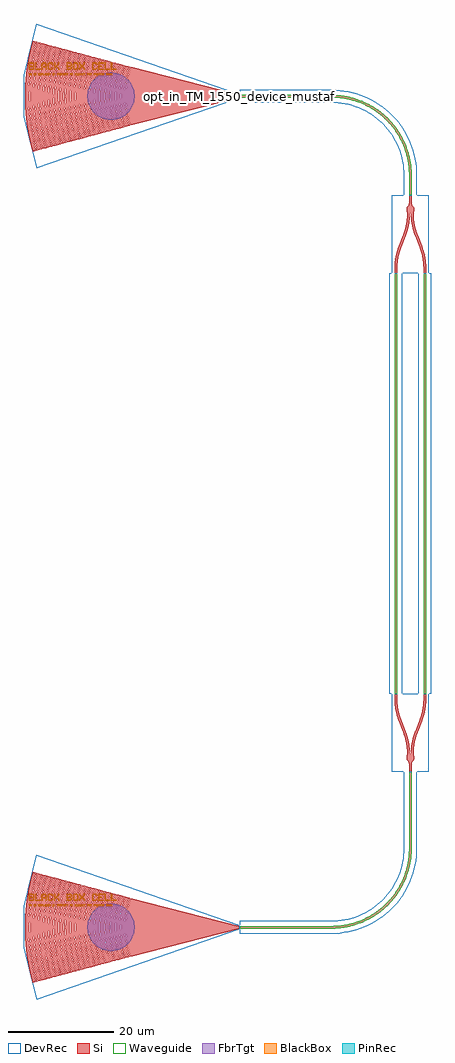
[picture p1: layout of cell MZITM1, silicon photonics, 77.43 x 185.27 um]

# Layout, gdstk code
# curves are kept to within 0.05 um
from math import pi, radians
import gdstk
lib = gdstk.Library(unit=1e-6, precision=1e-09)
def R(c, l, rs):  # rectangles x0, y0, x1, y1
    for r in rs: c.add(gdstk.rectangle(r[:2], r[2:], *l))
def P(c, l, *ps):  # polygons
    for p in ps: c.add(gdstk.Polygon(p, *l))
Si = (1, 0)
PinRec = (1, 10)
Waveguide = (1, 99)
DevRec = (68, 0)
FbrTgt = (81, 0)
BlackBox = (998, 0)

tm1550_subgc_10degree_ox = lib.new_cell('TM1550_SubGC_10degree_oxide')
P(tm1550_subgc_10degree_ox, Si, [(-20.951,-5.614),(-21.312,-4.239),(-21.572,-2.84),(-21.733,-1.367),(-21.781,-0.057),(-21.733,1.367),(-21.572,2.84),(-21.312,4.239),(-20.951,5.614),(-20.815,5.577),(-21.015,4.871),(-21.223,3.991),(-21.371,3.213),(-21.508,2.261),(-21.611,1.076),(-21.641,0.057),(-21.611,-1.076),(-21.508,-2.261),(-21.371,-3.213),(-21.223,-3.991),(-21.015,-4.871),(-20.815,-5.577)],
  [(-21.624,-5.794),(-22.009,-4.318),(-22.255,-2.989),(-22.478,-0.177),(-22.437,1.294),(-22.272,2.873),(-22.009,4.318),(-21.624,5.794),(-21.069,5.645),(-21.621,3.308),(-21.882,0.917),(-21.887,-0.803),(-21.748,-2.459),(-21.481,-4.039),(-21.069,-5.645)],
  [(-21.878,-5.862),(-22.116,-5.004),(-22.279,-4.31),(-22.524,-2.965),(-22.622,-2.198),(-22.691,-1.428),(-22.741,-0.06),(-22.691,1.428),(-22.622,2.198),(-22.524,2.965),(-22.279,4.31),(-22.116,5.004),(-21.878,5.862),(-21.743,5.826),(-21.95,5.088),(-22.154,4.226),(-22.32,3.356),(-22.441,2.537),(-22.563,1.242),(-22.601,0.059),(-22.563,-1.242),(-22.441,-2.537),(-22.32,-3.356),(-22.154,-4.226),(-21.95,-5.088),(-21.743,-5.826)],
  [(-22.552,-6.043),(-23.188,-3.238),(-23.378,-1.594),(-23.438,-0.184),(-23.387,1.471),(-23.233,2.935),(-22.951,4.503),(-22.552,6.043),(-21.996,5.894),(-22.56,3.513),(-22.844,0.898),(-22.849,-0.778),(-22.702,-2.566),(-22.412,-4.275),(-21.996,-5.894)],
  [(-22.805,-6.111),(-23.168,-4.735),(-23.309,-4.068),(-23.457,-3.213),(-23.542,-2.599),(-23.64,-1.612),(-23.686,-0.806),(-23.701,-0.062),(-23.686,0.806),(-23.649,1.488),(-23.493,2.968),(-23.366,3.763),(-23.195,4.614),(-23.006,5.396),(-22.805,6.111),(-22.67,6.074),(-22.885,5.304),(-23.11,4.346),(-23.28,3.438),(-23.395,2.645),(-23.525,1.233),(-23.561,0.062),(-23.525,-1.233),(-23.395,-2.645),(-23.28,-3.438),(-23.11,-4.346),(-22.885,-5.304),(-22.67,-6.074)],
  [(-23.479,-6.291),(-23.893,-4.688),(-24.167,-3.182),(-24.336,-1.659),(-24.398,-0.128),(-24.345,1.532),(-24.167,3.182),(-23.893,4.688),(-23.479,6.291),(-22.923,6.142),(-23.519,3.599),(-23.806,0.873),(-23.806,-0.873),(-23.656,-2.674),(-23.368,-4.394),(-22.923,-6.142)],
  [(-23.732,-6.359),(-24.094,-4.99),(-24.266,-4.17),(-24.418,-3.28),(-24.526,-2.448),(-24.598,-1.677),(-24.64,-0.968),(-24.661,-0.065),(-24.645,0.839),(-24.598,1.677),(-24.526,2.448),(-24.418,3.28),(-24.302,3.98),(-24.094,4.99),(-23.732,6.359),(-23.597,6.323),(-23.852,5.397),(-24.04,4.586),(-24.219,3.641),(-24.357,2.689),(-24.484,1.283),(-24.521,0.064),(-24.484,-1.283),(-24.357,-2.689),(-24.219,-3.641),(-24.04,-4.586),(-23.852,-5.397),(-23.597,-6.323)],
  [(-24.406,-6.54),(-24.821,-4.937),(-25.119,-3.307),(-25.308,-1.526),(-25.358,-0.133),(-25.308,1.526),(-25.119,3.307),(-24.821,4.937),(-24.406,6.54),(-23.851,6.391),(-24.468,3.744),(-24.765,0.908),(-24.765,-0.908),(-24.61,-2.782),(-24.298,-4.635),(-23.851,-6.391)],
  [(-24.66,-6.608),(-25.064,-5.054),(-25.213,-4.332),(-25.379,-3.341),(-25.481,-2.543),(-25.57,-1.542),(-25.621,-0.067),(-25.57,1.542),(-25.481,2.543),(-25.379,3.341),(-25.213,4.332),(-25.064,5.054),(-24.66,6.608),(-24.525,6.571),(-24.772,5.674),(-24.997,4.701),(-25.19,3.652),(-25.303,2.861),(-25.43,1.533),(-25.481,0.067),(-25.43,-1.533),(-25.303,-2.861),(-25.19,-3.652),(-24.997,-4.701),(-24.772,-5.674),(-24.525,-6.571)],
  [(-25.333,-6.788),(-25.702,-5.393),(-26.04,-3.636),(-26.246,-1.858),(-26.318,-0.138),(-26.266,1.583),(-26.09,3.296),(-25.777,5.057),(-25.333,6.788),(-24.778,6.639),(-25.439,3.756),(-25.727,0.876),(-25.727,-0.876),(-25.572,-2.823),(-25.241,-4.815),(-24.778,-6.639)],
  [(-25.587,-6.856),(-25.81,-6.054),(-26.02,-5.176),(-26.172,-4.427),(-26.321,-3.535),(-26.421,-2.777),(-26.508,-1.877),(-26.564,-0.904),(-26.581,-0.07),(-26.569,0.765),(-26.528,1.599),(-26.444,2.57),(-26.341,3.398),(-26.197,4.29),(-26.02,5.176),(-25.81,6.054),(-25.587,6.856),(-25.452,6.82),(-25.708,5.888),(-25.926,4.946),(-26.129,3.858),(-26.257,2.968),(-26.393,1.522),(-26.441,0.069),(-26.393,-1.522),(-26.257,-2.968),(-26.129,-3.858),(-25.926,-4.946),(-25.708,-5.888),(-25.452,-6.82)],
  [(-26.261,-7.037),(-26.704,-5.312),(-27.012,-3.628),(-27.204,-1.926),(-27.278,-0.143),(-27.229,1.57),(-27.052,3.346),(-26.704,5.312),(-26.261,7.037),(-25.705,6.888),(-26.366,4.034),(-26.684,0.978),(-26.678,-1.118),(-26.509,-3.067),(-26.184,-4.995),(-25.705,-6.888)],
  [(-26.514,-7.104),(-26.744,-6.273),(-26.946,-5.433),(-27.157,-4.374),(-27.293,-3.52),(-27.471,-1.873),(-27.521,-1.009),(-27.541,-0.072),(-27.491,1.585),(-27.407,2.591),(-27.293,3.52),(-27.157,4.374),(-26.946,5.433),(-26.744,6.273),(-26.514,7.104),(-26.379,7.068),(-26.626,6.172),(-26.869,5.126),(-27.067,4.069),(-27.202,3.147),(-27.351,1.577),(-27.401,0.072),(-27.36,-1.434),(-27.289,-2.363),(-27.202,-3.147),(-27.067,-4.069),(-26.869,-5.126),(-26.626,-6.172),(-26.379,-7.068)],
  [(-27.188,-7.285),(-27.661,-5.427),(-27.974,-3.683),(-28.167,-1.92),(-28.238,-0.148),(-28.192,1.551),(-27.995,3.537),(-27.661,5.427),(-27.188,7.285),(-26.633,7.136),(-27.315,4.18),(-27.529,2.602),(-27.646,0.941),(-27.637,-1.158),(-27.444,-3.321),(-27.127,-5.175),(-26.633,-7.136)],
  [(-27.442,-7.353),(-27.871,-5.696),(-28.065,-4.747),(-28.213,-3.865),(-28.347,-2.829),(-28.429,-1.938),(-28.483,-0.97),(-28.501,-0.075),(-28.483,0.97),(-28.429,1.938),(-28.355,2.755),(-28.245,3.643),(-28.065,4.747),(-27.903,5.55),(-27.716,6.348),(-27.442,7.353),(-27.306,7.317),(-27.543,6.46),(-27.797,5.378),(-27.992,4.358),(-28.146,3.331),(-28.305,1.706),(-28.361,0.074),(-28.346,-0.891),(-28.305,-1.706),(-28.146,-3.331),(-27.992,-4.358),(-27.797,-5.378),(-27.543,-6.46),(-27.306,-7.317)],
  [(-28.115,-7.533),(-28.587,-5.686),(-28.904,-3.959),(-29.125,-1.986),(-29.198,-0.153),(-29.141,1.757),(-28.937,3.733),(-28.587,5.686),(-28.115,7.533),(-27.56,7.385),(-27.991,5.72),(-28.3,4.103),(-28.608,0.899),(-28.596,-1.199),(-28.416,-3.288),(-28.07,-5.355),(-27.56,-7.385)],
  [(-28.369,-7.601),(-28.633,-6.637),(-28.828,-5.813),(-28.997,-4.983),(-29.164,-3.995),(-29.285,-3.078),(-29.381,-2.08),(-29.433,-1.234),(-29.461,-0.077),(-29.45,0.771),(-29.403,1.773),(-29.334,2.618),(-29.208,3.69),(-29.079,4.528),(-28.877,5.587),(-28.633,6.637),(-28.369,7.601),(-28.234,7.565),(-28.515,6.531),(-28.755,5.485),(-28.953,4.43),(-29.109,3.368),(-29.268,1.688),(-29.321,0.077),(-29.308,-0.844),(-29.268,-1.688),(-29.128,-3.216),(-28.978,-4.279),(-28.786,-5.335),(-28.552,-6.382),(-28.234,-7.565)],
  [(-29.043,-7.782),(-29.545,-5.796),(-29.878,-3.933),(-30.094,-1.893),(-30.158,-0.158),(-30.094,1.893),(-29.9,3.777),(-29.545,5.796),(-29.043,7.782),(-28.487,7.633),(-28.948,5.837),(-29.25,4.241),(-29.565,1.007),(-29.562,-1.084),(-29.37,-3.398),(-29.013,-5.534),(-28.487,-7.633)],
  [(-29.296,-7.85),(-29.568,-6.853),(-29.803,-5.847),(-30.014,-4.754),(-30.138,-3.968),(-30.266,-2.941),(-30.356,-1.91),(-30.402,-1.035),(-30.421,-0.08),(-30.402,1.035),(-30.356,1.91),(-30.266,2.941),(-30.138,3.968),(-30.014,4.754),(-29.803,5.847),(-29.568,6.853),(-29.296,7.85),(-29.161,7.814),(-29.451,6.745),(-29.73,5.51),(-29.928,4.419),(-30.082,3.321),(-30.236,1.585),(-30.281,0.079),(-30.236,-1.585),(-30.082,-3.321),(-29.928,-4.419),(-29.73,-5.51),(-29.451,-6.745),(-29.161,-7.814)],
  [(-29.97,-8.03),(-30.453,-6.14),(-30.818,-4.139),(-31.028,-2.279),(-31.118,-0.163),(-31.052,1.954),(-30.841,3.978),(-30.47,6.061),(-29.97,8.03),(-29.415,7.882),(-29.872,6.105),(-30.248,4.063),(-30.448,2.316),(-30.543,0.16),(-30.478,-1.917),(-30.248,-4.063),(-29.872,-6.105),(-29.415,-7.882)],
  [(-30.223,-8.098),(-30.483,-7.15),(-30.745,-6.032),(-30.934,-5.066),(-31.09,-4.093),(-31.23,-2.952),(-31.314,-1.97),(-31.367,-0.904),(-31.381,-0.082),(-31.367,0.904),(-31.314,1.97),(-31.23,2.952),(-31.09,4.093),(-30.934,5.066),(-30.745,6.032),(-30.483,7.15),(-30.223,8.098),(-30.088,8.062),(-30.367,7.039),(-30.641,5.845),(-30.824,4.882),(-31.006,3.67),(-31.107,2.776),(-31.185,1.798),(-31.241,0.082),(-31.227,-0.9),(-31.185,-1.798),(-31.107,-2.776),(-31.006,-3.67),(-30.824,-4.882),(-30.641,-5.845),(-30.367,-7.039),(-30.088,-8.062)],
  [(-30.897,-8.279),(-31.394,-6.33),(-31.757,-4.35),(-31.992,-2.265),(-32.078,-0.168),(-32.01,2.014),(-31.793,4.101),(-31.394,6.33),(-30.897,8.279),(-30.342,8.13),(-30.865,6.055),(-31.223,4.027),(-31.436,1.978),(-31.503,0.165),(-31.436,-1.978),(-31.223,-4.027),(-30.865,-6.055),(-30.342,-8.13)],
  [(-31.151,-8.347),(-31.375,-7.533),(-31.633,-6.465),(-31.836,-5.47),(-32.017,-4.386),(-32.168,-3.211),(-32.26,-2.199),(-32.321,-1.1),(-32.341,-0.085),(-32.324,1.016),(-32.272,2.03),(-32.177,3.127),(-32.065,4.051),(-31.896,5.137),(-31.687,6.217),(-31.459,7.205),(-31.151,8.347),(-31.016,8.311),(-31.302,7.255),(-31.584,6.025),(-31.8,4.866),(-31.97,3.699),(-32.138,1.937),(-32.184,1.011),(-32.201,0.084),(-32.184,-1.011),(-32.138,-1.937),(-31.97,-3.699),(-31.8,-4.866),(-31.584,-6.025),(-31.302,-7.255),(-31.016,-8.311)],
  [(-31.824,-8.527),(-32.335,-6.52),(-32.721,-4.395),(-32.956,-2.247),(-33.038,-0.173),(-32.974,1.988),(-32.757,4.138),(-32.371,6.351),(-31.824,8.527),(-31.269,8.379),(-31.753,6.489),(-32.151,4.318),(-32.376,2.292),(-32.463,0.17),(-32.4,-1.953),(-32.175,-4.15),(-31.807,-6.24),(-31.269,-8.379)],
  [(-32.078,-8.595),(-32.331,-7.672),(-32.592,-6.572),(-32.782,-5.633),(-32.981,-4.43),(-33.123,-3.306),(-33.218,-2.265),(-33.277,-1.22),(-33.301,-0.087),(-33.277,1.22),(-33.218,2.265),(-33.123,3.306),(-32.981,4.43),(-32.782,5.633),(-32.592,6.572),(-32.331,7.672),(-32.078,8.595),(-31.943,8.559),(-32.279,7.304),(-32.527,6.205),(-32.749,5.011),(-32.934,3.723),(-33.043,2.688),(-33.107,1.822),(-33.161,0.087),(-33.149,-0.868),(-33.107,-1.822),(-33.043,-2.688),(-32.934,-3.723),(-32.749,-5.011),(-32.527,-6.205),(-32.279,-7.304),(-31.943,-8.559)],
  [(-32.752,-8.776),(-33.295,-6.623),(-33.685,-4.435),(-33.907,-2.401),(-33.998,-0.178),(-33.92,2.223),(-33.685,4.435),(-33.295,6.623),(-32.752,8.776),(-32.196,8.627),(-32.731,6.511),(-33.115,4.36),(-33.34,2.273),(-33.423,0.175),(-33.358,-2.011),(-33.115,-4.36),(-32.731,-6.511),(-32.196,-8.627)],
  [(-33.005,-8.844),(-33.309,-7.721),(-33.571,-6.586),(-33.776,-5.531),(-33.945,-4.469),(-34.088,-3.312),(-34.182,-2.24),(-34.243,-1.076),(-34.261,-0.09),(-34.243,1.076),(-34.182,2.24),(-34.088,3.312),(-33.945,4.469),(-33.776,5.531),(-33.571,6.586),(-33.309,7.721),(-33.005,8.844),(-32.87,8.808),(-33.194,7.602),(-33.452,6.472),(-33.698,5.156),(-33.866,4.008),(-33.984,2.943),(-34.06,1.964),(-34.106,0.982),(-34.121,0.089),(-34.106,-0.982),(-34.06,-1.964),(-33.984,-2.943),(-33.866,-4.008),(-33.698,-5.156),(-33.452,-6.472),(-33.194,-7.602),(-32.87,-8.808)],
  [(-33.679,-9.024),(-34.217,-6.899),(-34.624,-4.651),(-34.878,-2.286),(-34.958,-0.183),(-34.896,2.012),(-34.662,4.379),(-34.255,6.721),(-33.679,9.024),(-33.124,8.875),(-33.653,6.786),(-34.054,4.574),(-34.291,2.428),(-34.383,0.18),(-34.322,-1.979),(-34.079,-4.396),(-33.691,-6.61),(-33.124,-8.875)],
  [(-33.933,-9.092),(-34.199,-8.116),(-34.494,-6.861),(-34.691,-5.867),(-34.884,-4.685),(-35.053,-3.313),(-35.14,-2.303),(-35.199,-1.198),(-35.221,-0.092),(-35.199,1.198),(-35.14,2.303),(-35.053,3.313),(-34.91,4.503),(-34.755,5.505),(-34.494,6.861),(-34.199,8.116),(-33.933,9.092),(-33.797,9.056),(-34.13,7.817),(-34.413,6.565),(-34.647,5.302),(-34.831,4.03),(-34.957,2.843),(-35.024,1.927),(-35.081,0.092),(-35.068,-0.918),(-35.024,-1.927),(-34.957,-2.843),(-34.831,-4.03),(-34.647,-5.302),(-34.413,-6.565),(-34.13,-7.817),(-33.797,-9.056)],
  [(-34.606,-9.273),(-35.178,-6.997),(-35.575,-4.778),(-35.836,-2.349),(-35.918,-0.188),(-35.86,1.973),(-35.627,4.406),(-35.178,6.997),(-34.606,9.273),(-34.051,9.124),(-34.614,6.885),(-34.992,4.793),(-35.234,2.68),(-35.343,0.185),(-35.286,-1.942),(-35.044,-4.427),(-34.614,-6.885),(-34.051,-9.124)],
  [(-34.86,-9.341),(-35.202,-8.062),(-35.455,-6.956),(-35.687,-5.748),(-35.849,-4.72),(-35.999,-3.498),(-36.098,-2.366),(-36.162,-1.136),(-36.181,-0.095),(-36.162,1.136),(-36.098,2.366),(-35.999,3.498),(-35.849,4.72),(-35.687,5.748),(-35.455,6.956),(-35.202,8.062),(-34.86,9.341),(-34.725,9.304),(-35.043,8.122),(-35.337,6.837),(-35.596,5.447),(-35.773,4.234),(-35.888,3.203),(-35.971,2.169),(-36.022,1.132),(-36.041,0.094),(-36.028,-0.943),(-35.977,-2.074),(-35.888,-3.203),(-35.773,-4.234),(-35.596,-5.447),(-35.337,-6.837),(-35.043,-8.122),(-34.725,-9.304)],
  [(-35.534,-9.521),(-36.099,-7.279),(-36.513,-5.002),(-36.78,-2.604),(-36.878,-0.193),(-36.807,2.219),(-36.567,4.619),(-36.159,6.996),(-35.534,9.521),(-34.978,9.372),(-35.575,6.98),(-35.957,4.83),(-36.199,2.658),(-36.303,0.19),(-36.22,-2.374),(-35.957,-4.83),(-35.575,-6.98),(-34.978,-9.372)],
  [(-35.787,-9.589),(-36.091,-8.465),(-36.377,-7.236),(-36.584,-6.188),(-36.787,-4.941),(-36.923,-3.881),(-37.049,-2.526),(-37.118,-1.264),(-37.141,-0.097),(-37.118,1.264),(-37.056,2.429),(-36.944,3.687),(-36.814,4.749),(-36.635,5.901),(-36.377,7.236),(-36.091,8.465),(-35.787,9.589),(-35.652,9.553),(-35.978,8.339),(-36.299,6.924),(-36.545,5.592),(-36.714,4.443),(-36.825,3.481),(-36.923,2.323),(-36.978,1.259),(-37.001,0.097),(-36.978,-1.259),(-36.923,-2.323),(-36.825,-3.481),(-36.714,-4.443),(-36.545,-5.592),(-36.299,-6.924),(-35.978,-8.339),(-35.652,-9.553)],
  [(-36.461,-9.77),(-37.061,-7.372),(-37.464,-5.132),(-37.73,-2.771),(-37.838,-0.198),(-37.765,2.277),(-37.506,4.838),(-37.061,7.372),(-36.461,9.77),(-35.906,9.621),(-36.497,7.26),(-36.922,4.861),(-37.164,2.631),(-37.263,0.195),(-37.185,-2.339),(-36.922,-4.861),(-36.497,-7.26),(-35.906,-9.621)],
  [(-36.714,-9.838),(-37.001,-8.781),(-37.276,-7.618),(-37.548,-6.25),(-37.724,-5.168),(-37.91,-3.684),(-38.014,-2.492),(-38.081,-1.197),(-38.101,-0.1),(-38.081,1.197),(-38.014,2.492),(-37.91,3.684),(-37.766,4.871),(-37.548,6.25),(-37.339,7.326),(-37.001,8.781),(-36.714,9.838),(-36.579,9.801),(-36.937,8.46),(-37.222,7.201),(-37.461,5.933),(-37.667,4.558),(-37.8,3.374),(-37.881,2.383),(-37.941,1.192),(-37.961,0.099),(-37.95,-0.894),(-37.911,-1.887),(-37.836,-2.978),(-37.692,-4.361),(-37.494,-5.737),(-37.262,-7.007),(-36.937,-8.46),(-36.579,-9.801)],
  [(-37.388,-10.018),(-37.981,-7.658),(-38.444,-5.061),(-38.71,-2.537),(-38.798,-0.203),(-38.71,2.537),(-38.458,4.961),(-38.044,7.361),(-37.388,10.018),(-36.833,9.869),(-37.459,7.349),(-37.874,4.986),(-38.129,2.599),(-38.223,0.2),(-38.143,-2.4),(-37.874,-4.986),(-37.459,-7.349),(-36.833,-9.869)],
  [(-37.642,-10.086),(-37.985,-8.804),(-38.26,-7.61),(-38.513,-6.307),(-38.704,-5.095),(-38.876,-3.675),(-38.957,-2.758),(-39.037,-1.329),(-39.061,-0.102),(-39.037,1.329),(-38.957,2.758),(-38.876,3.675),(-38.704,5.095),(-38.513,6.307),(-38.26,7.61),(-37.985,8.804),(-37.642,10.086),(-37.507,10.05),(-37.873,8.674),(-38.185,7.284),(-38.426,5.983),(-38.633,4.572),(-38.766,3.357),(-38.839,2.444),(-38.897,1.324),(-38.921,0.102),(-38.904,-1.121),(-38.852,-2.24),(-38.766,-3.357),(-38.633,-4.572),(-38.426,-5.983),(-38.185,-7.284),(-37.873,-8.674),(-37.507,-10.05)],
  [(-38.316,-10.267),(-38.944,-7.746),(-39.381,-5.29),(-39.66,-2.704),(-39.758,-0.208),(-39.675,2.496),(-39.41,5.083),(-38.987,7.543),(-38.316,10.267),(-37.76,10.118),(-38.337,7.835),(-38.811,5.213),(-39.079,2.767),(-39.183,0.205),(-39.114,-2.255),(-38.867,-4.807),(-38.422,-7.434),(-37.76,-10.118)],
  [(-38.569,-10.335),(-38.895,-9.123),(-39.223,-7.695),(-39.442,-6.565),(-39.656,-5.221),(-39.821,-3.869),(-39.937,-2.513),(-40,-1.257),(-40.021,-0.105),(-40,1.257),(-39.937,2.513),(-39.821,3.869),(-39.656,5.221),(-39.442,6.565),(-39.223,7.695),(-38.895,9.123),(-38.569,10.335),(-38.434,10.298),(-38.733,9.192),(-39.086,7.668),(-39.34,6.336),(-39.573,4.789),(-39.692,3.752),(-39.804,2.4),(-39.86,1.253),(-39.881,0.104),(-39.86,-1.253),(-39.804,-2.4),(-39.692,-3.752),(-39.573,-4.789),(-39.34,-6.336),(-39.086,-7.668),(-38.733,-9.192),(-38.434,-10.298)],
  [(-39.243,-10.515),(-39.841,-8.142),(-40.317,-5.523),(-40.602,-2.982),(-40.718,-0.213),(-40.64,2.45),(-40.362,5.206),(-39.907,7.83),(-39.243,10.515),(-38.687,10.366),(-39.365,7.616),(-39.792,5.133),(-40.052,2.625),(-40.143,0.21),(-40.066,-2.415),(-39.792,-5.133),(-39.365,-7.616),(-38.687,-10.366)],
  [(-20.697,-5.546),(-21.295,-2.917),(-21.518,-0.169),(-21.471,1.351),(-21.32,2.75),(-21.067,4.133),(-20.697,5.546),(0,0.25),(0,-0.25)])
tm1550_subgc_10degree_ox.add(gdstk.Label('Ref: Yun Wang, Optics Express, 08/2014', (-39,0), layer=10, texttype=0))
tm1550_subgc_10degree_ox.add(gdstk.Label('http://dx.doi.org/10.1364/OE.22.020652', (-39,-2), layer=10, texttype=0))
tm1550_subgc_10degree_ox.add(gdstk.Label('TM 1550 +10 deg', (-39,2), layer=10, texttype=0))

text_2 = lib.new_cell('TEXT$2')
P(text_2, BlackBox, [(0,0),(0,1.4),(0.8,1.4),(1,1.2),(0.2,1.2),(0.2,0.8),(0.7,0.8),(0.8,0.9),(0.8,1.1),(0.7,1.2),(1,1.2),(1,0.8),(0.9,0.7),(1,0.6),(0.2,0.6),(0.2,0.2),(0.7,0.2),(0.8,0.3),(0.8,0.5),(0.7,0.6),(1,0.6),(1,0.2),(0.8,0)],
  [(1.2,0),(1.2,1.4),(1.4,1.4),(1.4,0.2),(2.2,0.2),(2.2,0)],
  [(2.4,0),(2.4,1.1),(2.7,1.4),(3.1,1.4),(3.3,1.2),(2.8,1.2),(2.6,1),(2.6,0.7),(3.2,0.7),(3.2,1),(3,1.2),(3.3,1.2),(3.4,1.1),(3.4,0),(3.2,0),(3.2,0.5),(2.6,0.5),(2.6,0)],
  [(3.8,0),(3.6,0.2),(3.6,1.2),(3.8,1.4),(4.4,1.4),(4.6,1.2),(4.6,1),(4.4,1),(4.4,1.1),(4.3,1.2),(3.9,1.2),(3.8,1.1),(3.8,0.3),(3.9,0.2),(4.3,0.2),(4.4,0.3),(4.4,0.4),(4.6,0.4),(4.6,0.2),(4.4,0)],
  [(4.8,0),(4.8,1.4),(5,1.4),(5,0.8),(5.2,0.8),(5.6,1.2),(5.6,1.4),(5.8,1.4),(5.8,1.1),(5.4,0.7),(5.8,0.3),(5.8,0),(5.6,0),(5.6,0.2),(5.2,0.6),(5,0.6),(5,0)],
  [(7.2,0),(7.2,1.4),(8,1.4),(8.2,1.2),(7.4,1.2),(7.4,0.8),(7.9,0.8),(8,0.9),(8,1.1),(7.9,1.2),(8.2,1.2),(8.2,0.8),(8.1,0.7),(8.2,0.6),(7.4,0.6),(7.4,0.2),(7.9,0.2),(8,0.3),(8,0.5),(7.9,0.6),(8.2,0.6),(8.2,0.2),(8,0)],
  [(8.6,0),(8.4,0.2),(8.4,1.2),(8.6,1.4),(9.2,1.4),(9.4,1.2),(9.4,0.7),(9.2,0.7),(9.2,1.1),(9.1,1.2),(8.7,1.2),(8.6,1.1),(8.6,0.3),(8.7,0.2),(9.1,0.2),(9.2,0.3),(9.2,0.7),(9.4,0.7),(9.4,0.2),(9.2,0)],
  [(9.6,0),(9.6,0.3),(9.9,0.6),(9.9,0.8),(9.6,1.1),(9.6,1.4),(9.8,1.4),(9.8,1.2),(10.1,0.9),(10.4,1.2),(10.4,1.4),(10.6,1.4),(10.6,1.1),(10.3,0.8),(10.3,0.6),(10.6,0.3),(10.6,0),(10.4,0),(10.4,0.2),(10.1,0.5),(9.8,0.2),(9.8,0)],
  [(12.2,0),(12,0.2),(12,1.2),(12.2,1.4),(12.8,1.4),(13,1.2),(13,1),(12.8,1),(12.8,1.1),(12.7,1.2),(12.3,1.2),(12.2,1.1),(12.2,0.3),(12.3,0.2),(12.7,0.2),(12.8,0.3),(12.8,0.4),(13,0.4),(13,0.2),(12.8,0)],
  [(13.2,0),(13.2,1.4),(14.2,1.4),(14.2,1.2),(13.4,1.2),(13.4,0.8),(13.8,0.8),(13.8,0.6),(13.4,0.6),(13.4,0.2),(14.2,0.2),(14.2,0)],
  [(14.4,0),(14.4,1.4),(14.6,1.4),(14.6,0.2),(15.4,0.2),(15.4,0)],
  [(15.6,0),(15.6,1.4),(15.8,1.4),(15.8,0.2),(16.6,0.2),(16.6,0)])

text_3 = lib.new_cell('TEXT$3')
P(text_3, BlackBox, [(0.1,0),(0.1,0.3),(0,0.3),(0,0.35),(0.25,0.35),(0.25,0.3),(0.15,0.3),(0.15,0)],
  [(0.35,0),(0.3,0.05),(0.3,0.3),(0.35,0.35),(0.5,0.35),(0.55,0.3),(0.55,0.175),(0.5,0.175),(0.5,0.275),(0.475,0.3),(0.375,0.3),(0.35,0.275),(0.35,0.075),(0.375,0.05),(0.475,0.05),(0.5,0.075),(0.5,0.175),(0.55,0.175),(0.55,0.05),(0.5,0)],
  [(0.9,0),(0.9,0.35),(1.1,0.35),(1.15,0.3),(0.95,0.3),(0.95,0.2),(1.075,0.2),(1.1,0.225),(1.1,0.275),(1.075,0.3),(1.15,0.3),(1.15,0.2),(1.125,0.175),(1.15,0.15),(0.95,0.15),(0.95,0.05),(1.075,0.05),(1.1,0.075),(1.1,0.125),(1.075,0.15),(1.15,0.15),(1.15,0.05),(1.1,0)],
  [(1.2,0),(1.2,0.35),(1.45,0.35),(1.45,0.3),(1.25,0.3),(1.25,0.2),(1.35,0.2),(1.35,0.15),(1.25,0.15),(1.25,0.05),(1.45,0.05),(1.45,0)],
  [(1.8,0),(1.8,0.35),(2,0.35),(2.05,0.3),(1.85,0.3),(1.85,0.2),(1.975,0.2),(2,0.225),(2,0.275),(1.975,0.3),(2.05,0.3),(2.05,0.2),(2,0.15),(2,0.125),(2.05,0.075),(2.05,0),(2,0),(2,0.05),(1.9,0.15),(1.85,0.15),(1.85,0)],
  [(2.1,0),(2.1,0.35),(2.35,0.35),(2.35,0.3),(2.15,0.3),(2.15,0.2),(2.25,0.2),(2.25,0.15),(2.15,0.15),(2.15,0.05),(2.35,0.05),(2.35,0)],
  [(2.4,0),(2.4,0.35),(2.6,0.35),(2.65,0.3),(2.65,0.2),(2.6,0.15),(2.45,0.15),(2.45,0.2),(2.575,0.2),(2.6,0.225),(2.6,0.275),(2.575,0.3),(2.45,0.3),(2.45,0)],
  [(2.7,0),(2.7,0.35),(2.75,0.35),(2.75,0.05),(2.95,0.05),(2.95,0)],
  [(3,0),(3,0.275),(3.075,0.35),(3.175,0.35),(3.225,0.3),(3.1,0.3),(3.05,0.25),(3.05,0.175),(3.2,0.175),(3.2,0.25),(3.15,0.3),(3.225,0.3),(3.25,0.275),(3.25,0),(3.2,0),(3.2,0.125),(3.05,0.125),(3.05,0)],
  [(3.35,0),(3.3,0.05),(3.3,0.3),(3.35,0.35),(3.5,0.35),(3.55,0.3),(3.55,0.25),(3.5,0.25),(3.5,0.275),(3.475,0.3),(3.375,0.3),(3.35,0.275),(3.35,0.075),(3.375,0.05),(3.475,0.05),(3.5,0.075),(3.5,0.1),(3.55,0.1),(3.55,0.05),(3.5,0)],
  [(3.6,0),(3.6,0.35),(3.85,0.35),(3.85,0.3),(3.65,0.3),(3.65,0.2),(3.75,0.2),(3.75,0.15),(3.65,0.15),(3.65,0.05),(3.85,0.05),(3.85,0)],
  [(3.9,0),(3.9,0.35),(4.075,0.35),(4.125,0.3),(3.95,0.3),(3.95,0.05),(4.05,0.05),(4.1,0.1),(4.1,0.25),(4.05,0.3),(4.125,0.3),(4.15,0.275),(4.15,0.075),(4.075,0)],
  [(4.5,0),(4.5,0.35),(4.7,0.35),(4.75,0.3),(4.55,0.3),(4.55,0.2),(4.675,0.2),(4.7,0.225),(4.7,0.275),(4.675,0.3),(4.75,0.3),(4.75,0.2),(4.725,0.175),(4.75,0.15),(4.55,0.15),(4.55,0.05),(4.675,0.05),(4.7,0.075),(4.7,0.125),(4.675,0.15),(4.75,0.15),(4.75,0.05),(4.7,0)],
  [(4.9,0),(4.9,0.175),(4.8,0.275),(4.8,0.35),(4.85,0.35),(4.85,0.3),(4.925,0.225),(5,0.3),(5,0.35),(5.05,0.35),(5.05,0.275),(4.95,0.175),(4.95,0)],
  [(5.4,0),(5.4,0.35),(5.65,0.35),(5.65,0.3),(5.45,0.3),(5.45,0.2),(5.55,0.2),(5.55,0.15),(5.45,0.15),(5.45,0)],
  [(5.75,0),(5.7,0.05),(5.7,0.3),(5.75,0.35),(5.9,0.35),(5.95,0.3),(5.95,0.175),(5.9,0.175),(5.9,0.275),(5.875,0.3),(5.775,0.3),(5.75,0.275),(5.75,0.075),(5.775,0.05),(5.875,0.05),(5.9,0.075),(5.9,0.175),(5.95,0.175),(5.95,0.05),(5.9,0)],
  [(6.05,0),(6,0.05),(6,0.35),(6.05,0.35),(6.05,0.075),(6.075,0.05),(6.175,0.05),(6.2,0.075),(6.2,0.35),(6.25,0.35),(6.25,0.05),(6.2,0)],
  [(6.3,0),(6.3,0.35),(6.35,0.35),(6.475,0.225),(6.5,0.225),(6.5,0.35),(6.55,0.35),(6.55,0),(6.5,0),(6.5,0.125),(6.375,0.25),(6.35,0.25),(6.35,0)],
  [(6.6,0),(6.6,0.35),(6.775,0.35),(6.825,0.3),(6.65,0.3),(6.65,0.05),(6.75,0.05),(6.8,0.1),(6.8,0.25),(6.75,0.3),(6.825,0.3),(6.85,0.275),(6.85,0.075),(6.775,0)],
  [(6.9,0),(6.9,0.35),(7.1,0.35),(7.15,0.3),(6.95,0.3),(6.95,0.2),(7.075,0.2),(7.1,0.225),(7.1,0.275),(7.075,0.3),(7.15,0.3),(7.15,0.2),(7.1,0.15),(7.1,0.125),(7.15,0.075),(7.15,0),(7.1,0),(7.1,0.05),(7,0.15),(6.95,0.15),(6.95,0)],
  [(7.3,0),(7.3,0.175),(7.2,0.275),(7.2,0.35),(7.25,0.35),(7.25,0.3),(7.325,0.225),(7.4,0.3),(7.4,0.35),(7.45,0.35),(7.45,0.275),(7.35,0.175),(7.35,0)],
  [(7.9,0),(7.9,0.3),(7.8,0.3),(7.8,0.35),(8.05,0.35),(8.05,0.3),(7.95,0.3),(7.95,0)],
  [(8.15,0),(8.1,0.05),(8.1,0.3),(8.15,0.35),(8.3,0.35),(8.35,0.3),(8.35,0.175),(8.3,0.175),(8.3,0.275),(8.275,0.3),(8.175,0.3),(8.15,0.275),(8.15,0.075),(8.175,0.05),(8.275,0.05),(8.3,0.075),(8.3,0.175),(8.35,0.175),(8.35,0.05),(8.3,0)],
  [(8.7,0),(8.7,0.275),(8.775,0.35),(8.875,0.35),(8.925,0.3),(8.8,0.3),(8.75,0.25),(8.75,0.175),(8.9,0.175),(8.9,0.25),(8.85,0.3),(8.925,0.3),(8.95,0.275),(8.95,0),(8.9,0),(8.9,0.125),(8.75,0.125),(8.75,0)],
  [(9.05,0),(9,0.05),(9,0.3),(9.05,0.35),(9.2,0.35),(9.25,0.3),(9.25,0.25),(9.2,0.25),(9.2,0.275),(9.175,0.3),(9.075,0.3),(9.05,0.275),(9.05,0.075),(9.075,0.05),(9.175,0.05),(9.2,0.075),(9.2,0.1),(9.25,0.1),(9.25,0.05),(9.2,0)],
  [(9.35,0),(9.3,0.05),(9.3,0.3),(9.35,0.35),(9.5,0.35),(9.55,0.3),(9.55,0.25),(9.5,0.25),(9.5,0.275),(9.475,0.3),(9.375,0.3),(9.35,0.275),(9.35,0.075),(9.375,0.05),(9.475,0.05),(9.5,0.075),(9.5,0.1),(9.55,0.1),(9.55,0.05),(9.5,0)],
  [(9.65,0),(9.6,0.05),(9.6,0.3),(9.65,0.35),(9.8,0.35),(9.85,0.3),(9.85,0.175),(9.8,0.175),(9.8,0.275),(9.775,0.3),(9.675,0.3),(9.65,0.275),(9.65,0.075),(9.675,0.05),(9.775,0.05),(9.8,0.075),(9.8,0.175),(9.85,0.175),(9.85,0.05),(9.8,0)],
  [(9.95,0),(9.9,0.05),(9.9,0.35),(9.95,0.35),(9.95,0.075),(9.975,0.05),(10.075,0.05),(10.1,0.075),(10.1,0.35),(10.15,0.35),(10.15,0.05),(10.1,0)],
  [(10.2,0),(10.2,0.35),(10.25,0.35),(10.375,0.225),(10.4,0.225),(10.4,0.35),(10.45,0.35),(10.45,0),(10.4,0),(10.4,0.125),(10.275,0.25),(10.25,0.25),(10.25,0)],
  [(10.6,0),(10.6,0.3),(10.5,0.3),(10.5,0.35),(10.75,0.35),(10.75,0.3),(10.65,0.3),(10.65,0)],
  [(11.1,0),(11.1,0.35),(11.35,0.35),(11.35,0.3),(11.15,0.3),(11.15,0.2),(11.25,0.2),(11.25,0.15),(11.15,0.15),(11.15,0)],
  [(11.45,0),(11.4,0.05),(11.4,0.3),(11.45,0.35),(11.6,0.35),(11.65,0.3),(11.65,0.175),(11.6,0.175),(11.6,0.275),(11.575,0.3),(11.475,0.3),(11.45,0.275),(11.45,0.075),(11.475,0.05),(11.575,0.05),(11.6,0.075),(11.6,0.175),(11.65,0.175),(11.65,0.05),(11.6,0)],
  [(11.7,0),(11.7,0.35),(11.9,0.35),(11.95,0.3),(11.75,0.3),(11.75,0.2),(11.875,0.2),(11.9,0.225),(11.9,0.275),(11.875,0.3),(11.95,0.3),(11.95,0.2),(11.9,0.15),(11.9,0.125),(11.95,0.075),(11.95,0),(11.9,0),(11.9,0.05),(11.8,0.15),(11.75,0.15),(11.75,0)],
  [(12.3,0),(12.3,0.35),(12.5,0.35),(12.55,0.3),(12.55,0.2),(12.5,0.15),(12.35,0.15),(12.35,0.2),(12.475,0.2),(12.5,0.225),(12.5,0.275),(12.475,0.3),(12.35,0.3),(12.35,0)],
  [(12.6,0),(12.6,0.35),(12.8,0.35),(12.85,0.3),(12.65,0.3),(12.65,0.2),(12.775,0.2),(12.8,0.225),(12.8,0.275),(12.775,0.3),(12.85,0.3),(12.85,0.2),(12.8,0.15),(12.8,0.125),(12.85,0.075),(12.85,0),(12.8,0),(12.8,0.05),(12.7,0.15),(12.65,0.15),(12.65,0)],
  [(12.95,0),(12.9,0.05),(12.9,0.3),(12.95,0.35),(13.1,0.35),(13.15,0.3),(13.15,0.175),(13.1,0.175),(13.1,0.275),(13.075,0.3),(12.975,0.3),(12.95,0.275),(12.95,0.075),(12.975,0.05),(13.075,0.05),(13.1,0.075),(13.1,0.175),(13.15,0.175),(13.15,0.05),(13.1,0)],
  [(13.25,0),(13.2,0.05),(13.2,0.3),(13.25,0.35),(13.4,0.35),(13.45,0.3),(13.45,0.25),(13.4,0.25),(13.4,0.275),(13.375,0.3),(13.275,0.3),(13.25,0.275),(13.25,0.075),(13.275,0.05),(13.375,0.05),(13.4,0.075),(13.4,0.1),(13.45,0.1),(13.45,0.05),(13.4,0)],
  [(13.5,0),(13.5,0.35),(13.75,0.35),(13.75,0.3),(13.55,0.3),(13.55,0.2),(13.65,0.2),(13.65,0.15),(13.55,0.15),(13.55,0.05),(13.75,0.05),(13.75,0)],
  [(13.85,0),(13.8,0.05),(13.8,0.1),(13.85,0.1),(13.85,0.075),(13.875,0.05),(13.975,0.05),(14,0.075),(14,0.125),(13.975,0.15),(13.85,0.15),(13.8,0.2),(13.8,0.3),(13.85,0.35),(14,0.35),(14.05,0.3),(14.05,0.25),(14,0.25),(14,0.275),(13.975,0.3),(13.875,0.3),(13.85,0.275),(13.85,0.225),(13.875,0.2),(14,0.2),(14.05,0.15),(14.05,0.05),(14,0)],
  [(14.15,0),(14.1,0.05),(14.1,0.1),(14.15,0.1),(14.15,0.075),(14.175,0.05),(14.275,0.05),(14.3,0.075),(14.3,0.125),(14.275,0.15),(14.15,0.15),(14.1,0.2),(14.1,0.3),(14.15,0.35),(14.3,0.35),(14.35,0.3),(14.35,0.25),(14.3,0.25),(14.3,0.275),(14.275,0.3),(14.175,0.3),(14.15,0.275),(14.15,0.225),(14.175,0.2),(14.3,0.2),(14.35,0.15),(14.35,0.05),(14.3,0)],
  [(14.7,0),(14.7,0.35),(14.9,0.35),(14.95,0.3),(14.75,0.3),(14.75,0.2),(14.875,0.2),(14.9,0.225),(14.9,0.275),(14.875,0.3),(14.95,0.3),(14.95,0.2),(14.925,0.175),(14.95,0.15),(14.75,0.15),(14.75,0.05),(14.875,0.05),(14.9,0.075),(14.9,0.125),(14.875,0.15),(14.95,0.15),(14.95,0.05),(14.9,0)],
  [(15.075,0),(15.075,0.05),(15.1,0.05),(15.1,0.3),(15.075,0.3),(15.075,0.35),(15.175,0.35),(15.175,0.3),(15.15,0.3),(15.15,0.05),(15.175,0.05),(15.175,0)],
  [(15.3,0),(15.3,0.275),(15.375,0.35),(15.475,0.35),(15.525,0.3),(15.4,0.3),(15.35,0.25),(15.35,0.175),(15.5,0.175),(15.5,0.25),(15.45,0.3),(15.525,0.3),(15.55,0.275),(15.55,0),(15.5,0),(15.5,0.125),(15.35,0.125),(15.35,0)],
  [(15.65,0),(15.6,0.05),(15.6,0.1),(15.65,0.1),(15.65,0.075),(15.675,0.05),(15.775,0.05),(15.8,0.075),(15.8,0.125),(15.775,0.15),(15.65,0.15),(15.6,0.2),(15.6,0.3),(15.65,0.35),(15.8,0.35),(15.85,0.3),(15.85,0.25),(15.8,0.25),(15.8,0.275),(15.775,0.3),(15.675,0.3),(15.65,0.275),(15.65,0.225),(15.675,0.2),(15.8,0.2),(15.85,0.15),(15.85,0.05),(15.8,0)])

ebeam_gc_tm1550 = lib.new_cell('ebeam_gc_tm1550')
R(ebeam_gc_tm1550, Si, [(-0.001,-0.001,0.001,0.001)])
P(ebeam_gc_tm1550, DevRec, [(-38.5,-13.7),(-41,-4),(-41,4),(-38.6,13.8),(0,0.4),(0,-0.4)])
P(ebeam_gc_tm1550, FbrTgt, [(-24.621,-4.5),(-25.495,-4.37),(-26.326,-4.073),(-27.084,-3.619),(-27.738,-3.026),(-28.264,-2.316),(-28.642,-1.518),(-28.857,-0.661),(-28.9,0.221),(-28.77,1.095),(-28.473,1.926),(-28.019,2.684),(-27.426,3.338),(-26.716,3.864),(-25.918,4.242),(-25.061,4.457),(-24.179,4.5),(-23.305,4.37),(-22.474,4.073),(-21.716,3.619),(-21.062,3.026),(-20.536,2.316),(-20.158,1.518),(-19.943,0.661),(-19.9,-0.221),(-20.03,-1.095),(-20.327,-1.926),(-20.781,-2.684),(-21.374,-3.338),(-22.084,-3.864),(-22.882,-4.242),(-23.739,-4.457)])
ebeam_gc_tm1550.add(gdstk.FlexPath([(-0.05,0),(0.05,0)], 0.5, ends="flush", simple_path=True, layer=1, datatype=10))  # PinRec
ebeam_gc_tm1550.add(gdstk.Reference(tm1550_subgc_10degree_ox, (0,0)))
ebeam_gc_tm1550.add(gdstk.Reference(text_2, (-40,5)))
ebeam_gc_tm1550.add(gdstk.Reference(text_3, (-40,4)))
ebeam_gc_tm1550.add(gdstk.Label('opt1', (0,0), layer=1, texttype=10))
ebeam_gc_tm1550.add(gdstk.Label('Component=ebeam_gc_tm1550', (-35,-5), layer=68, texttype=0))
ebeam_gc_tm1550.add(gdstk.Label('Lumerical_INTERCONNECT_library=Design kits/ebeam', (-38,-6), layer=68, texttype=0))

ebeam_y_1550 = lib.new_cell('ebeam_y_1550')
R(ebeam_y_1550, Si, [(6.5,-3,7.4,-2.5), (-7.4,-0.25,-6,0.25), (6.5,2.5,7.4,3)])
P(ebeam_y_1550, Si, [(6.458,-3),(6.237,-2.997),(6.237,-2.497),(6.5,-2.5),(6.5,-3)],
  [(5.033,-2.908),(3.59,-2.634),(2.265,-2.21),(2.445,-1.744),(3.731,-2.154),(5.033,-2.404)],
  [(6.233,-2.997),(5.033,-2.908),(5.033,-2.404),(6.237,-2.497)],
  [(2.265,-2.21),(0.055,-1.356),(0.235,-0.89),(2.445,-1.744)],
  [(-0.762,-1.076),(-2.334,-0.724),(-4,-0.6),(-4,-0.1),(-2.381,-0.212),(-0.762,-0.555)],
  [(0.055,-1.356),(-0.762,-1.076),(-0.762,-0.555),(0.235,-0.89)],
  [(6.237,2.497),(6.237,2.997),(6.5,3),(6.5,2.5)],
  [(2.445,1.744),(2.267,2.211),(3.59,2.634),(5.033,2.908),(5.033,2.404),(3.731,2.154)],
  [(5.033,2.404),(5.033,2.908),(6.237,2.997),(6.237,2.497)],
  [(0.235,0.89),(0.055,1.356),(2.265,2.21),(2.445,1.744)],
  [(-4,0.1),(-4,0.6),(-2.334,0.724),(-0.762,1.076),(-0.762,0.555),(-2.381,0.212)],
  [(-0.762,0.555),(-0.762,1.076),(0.055,1.356),(0.235,0.89)],
  [(-5.122,-0.662),(-5.442,-0.374),(-5.808,-0.255),(-6,-0.25),(-6,0.25),(-5.817,0.253),(-5.442,0.374),(-5.122,0.662)],
  [(-4.957,-0.703),(-5.122,-0.662),(-5.122,0.662),(-4.538,0.703),(-4,0.6),(-4,-0.6)])
R(ebeam_y_1550, DevRec, [(-7.4,-3.5,7.4,3.5)])
ebeam_y_1550.add(gdstk.FlexPath([(-7.35,0),(-7.45,0)], 0.5, ends="flush", simple_path=True, layer=1, datatype=10))  # PinRec
ebeam_y_1550.add(gdstk.FlexPath([(7.35,2.75),(7.45,2.75)], 0.5, ends="flush", simple_path=True, layer=1, datatype=10))  # PinRec
ebeam_y_1550.add(gdstk.FlexPath([(7.35,-2.75),(7.45,-2.75)], 0.5, ends="flush", simple_path=True, layer=1, datatype=10))  # PinRec
ebeam_y_1550.add(gdstk.Label('Ref: Y Zhang, Opt. Express, 21/1, 2013', (-7.5,-1), layer=10, texttype=0))
ebeam_y_1550.add(gdstk.Label('opt2', (7.4,2.75), layer=1, texttype=10))
ebeam_y_1550.add(gdstk.Label('opt3', (7.4,-2.75), layer=1, texttype=10))
ebeam_y_1550.add(gdstk.Label('opt1', (-7.4,0), layer=1, texttype=10))
ebeam_y_1550.add(gdstk.Label('Component=ebeam_y_1550', (-6,1.5), layer=68, texttype=0))
ebeam_y_1550.add(gdstk.Label('Lumerical_INTERCONNECT_library=Design kits/ebeam', (-6.86,-2.19), layer=68, texttype=0))

waveguide_23 = lib.new_cell('Waveguide$23')
P(waveguide_23, Si, [(48.83,330.32),(48.828,334.401),(48.704,336.085),(48.328,337.977),(47.613,340.027),(47.089,341.113),(46.477,342.153),(45.17,343.885),(44.338,344.759),(43.437,345.562),(41.664,346.811),(40.168,347.595),(38.593,348.203),(37.194,348.578),(35.526,348.839),(34.08,348.91),(16.65,348.91),(16.65,349.41),(35.326,349.359),(37.055,349.117),(38.745,348.679),(40.374,348.051),(41.92,347.241),(42.963,346.556),(43.946,345.789),(45.546,344.215),(46.329,343.244),(47.03,342.213),(47.645,341.128),(48.169,339.996),(48.599,338.825),(48.931,337.623),(49.165,336.398),(49.297,335.157),(49.33,330.32)])
P(waveguide_23, Waveguide, [(48.83,330.32),(48.828,334.401),(48.704,336.085),(48.328,337.977),(47.613,340.027),(47.089,341.113),(46.477,342.153),(45.17,343.885),(44.338,344.759),(43.437,345.562),(41.664,346.811),(40.168,347.595),(38.593,348.203),(37.194,348.578),(35.526,348.839),(34.08,348.91),(16.65,348.91),(16.65,349.41),(35.326,349.359),(37.055,349.117),(38.745,348.679),(40.374,348.051),(41.92,347.241),(42.963,346.556),(43.946,345.789),(45.546,344.215),(46.329,343.244),(47.03,342.213),(47.645,341.128),(48.169,339.996),(48.599,338.825),(48.931,337.623),(49.165,336.398),(49.297,335.157),(49.33,330.32)])
P(waveguide_23, DevRec, [(47.83,330.32),(47.764,335.508),(47.418,337.501),(46.783,339.422),(45.874,341.229),(44.709,342.883),(43.314,344.347),(41.719,345.593),(39.959,346.59),(38.712,347.106),(37.421,347.498),(35.428,347.844),(34.079,347.91),(16.65,347.91),(16.65,350.41),(34.081,350.41),(35.672,350.332),(37.25,350.098),(39.554,349.46),(41.74,348.492),(43.109,347.671),(44.389,346.721),(45.571,345.651),(46.641,344.469),(47.591,343.189),(48.77,341.107),(49.38,339.634),(49.842,338.109),(50.154,336.544),(50.311,334.957),(50.33,330.32)])
waveguide_23.add(gdstk.FlexPath([(16.66,349.16),(16.64,349.16)], 0.5, ends="flush", simple_path=True, layer=1, datatype=10))  # PinRec
waveguide_23.add(gdstk.FlexPath([(49.08,330.33),(49.08,330.31)], 0.5, ends="flush", simple_path=True, layer=1, datatype=10))  # PinRec
waveguide_23.add(gdstk.Label('opt1', (16.65,349.16), layer=1, texttype=10))
waveguide_23.add(gdstk.Label('opt2', (49.08,330.32), layer=1, texttype=10))
waveguide_23.add(gdstk.Label('Lumerical_INTERCONNECT_library=Design kits/EBeam', (16.65,349.06), layer=68, texttype=0))
waveguide_23.add(gdstk.Label('Component=ebeam_wg_integral_1550', (16.65,349.26), layer=68, texttype=0))
waveguide_23.add(gdstk.Label('cellName=Waveguide', (16.65,349.36), layer=68, texttype=0))
waveguide_23.add(gdstk.Label('Spice_param:wg_length=0.000044827 wg_width=5e-07 points="[[16.65,349.16],[49.08,349.16],[49.08,330.32]]" radius=1.5e-05', (16.65,349.16), layer=68, texttype=0))
waveguide_23.add(gdstk.Label('Length=44.827 (microns)', (16.65,348.56), layer=68, texttype=0))
waveguide_23.add(gdstk.Label('waveguide_type=Strip TM 1550 nm, w=500 nm', (16.65,348.96), layer=68, texttype=0))

waveguide_27 = lib.new_cell('Waveguide$27')
R(waveguide_27, Si, [(51.58,235.72,52.08,315.52)])
R(waveguide_27, Waveguide, [(51.58,235.72,52.08,315.52)])
R(waveguide_27, DevRec, [(50.58,235.72,53.08,315.52)])
waveguide_27.add(gdstk.FlexPath([(51.83,315.51),(51.83,315.53)], 0.5, ends="flush", simple_path=True, layer=1, datatype=10))  # PinRec
waveguide_27.add(gdstk.FlexPath([(51.83,235.73),(51.83,235.71)], 0.5, ends="flush", simple_path=True, layer=1, datatype=10))  # PinRec
waveguide_27.add(gdstk.Label('opt1', (51.83,315.52), layer=1, texttype=10))
waveguide_27.add(gdstk.Label('opt2', (51.83,235.72), layer=1, texttype=10))
waveguide_27.add(gdstk.Label('Lumerical_INTERCONNECT_library=Design kits/EBeam', (51.73,315.52), layer=68, texttype=0))
waveguide_27.add(gdstk.Label('Component=ebeam_wg_integral_1550', (51.93,315.52), layer=68, texttype=0))
waveguide_27.add(gdstk.Label('cellName=Waveguide', (52.03,315.52), layer=68, texttype=0))
waveguide_27.add(gdstk.Label('Spice_param:wg_length=0.000079800 wg_width=5e-07 points="[[51.83,315.52],[51.83,235.72]]" radius=1.5e-05', (51.83,315.52), layer=68, texttype=0))
waveguide_27.add(gdstk.Label('Length=79.800 (microns)', (51.23,315.52), layer=68, texttype=0))
waveguide_27.add(gdstk.Label('waveguide_type=Strip TM 1550 nm, w=500 nm', (51.63,315.52), layer=68, texttype=0))

waveguide_28 = lib.new_cell('Waveguide$28')
P(waveguide_28, Si, [(41,3.79),(41,4.29),(58.43,4.29),(60.594,4.449),(62.712,4.925),(64.736,5.706),(66.625,6.776),(68.335,8.111),(69.983,9.87),(71.203,11.665),(72.235,13.844),(72.848,15.926),(73.084,17.355),(73.178,18.799),(73.18,33.57),(73.68,33.57),(73.678,18.791),(73.607,17.546),(73.387,16.065),(73.093,14.852),(72.703,13.668),(72.216,12.52),(71.637,11.415),(70.97,10.361),(70.218,9.365),(68.671,7.741),(66.903,6.36),(64.95,5.254),(62.856,4.447),(60.668,3.955),(58.679,3.792)])
P(waveguide_28, Waveguide, [(41,3.79),(41,4.29),(58.43,4.29),(60.594,4.449),(62.712,4.925),(64.736,5.706),(66.625,6.776),(68.335,8.111),(69.983,9.87),(71.203,11.665),(72.235,13.844),(72.848,15.926),(73.084,17.355),(73.178,18.799),(73.18,33.57),(73.68,33.57),(73.678,18.791),(73.607,17.546),(73.387,16.065),(73.093,14.852),(72.703,13.668),(72.216,12.52),(71.637,11.415),(70.97,10.361),(70.218,9.365),(68.671,7.741),(66.903,6.36),(64.95,5.254),(62.856,4.447),(60.668,3.955),(58.679,3.792)])
P(waveguide_28, DevRec, [(41,2.79),(41,5.29),(58.429,5.29),(60.448,5.438),(62.421,5.882),(64.309,6.61),(66.069,7.607),(67.664,8.853),(69.059,10.317),(70.224,11.971),(70.86,13.161),(71.376,14.408),(71.916,16.358),(72.114,17.692),(72.18,19.041),(72.18,33.57),(74.68,33.57),(74.68,19.039),(74.602,17.448),(74.368,15.87),(73.73,13.566),(72.762,11.38),(71.941,10.011),(70.991,8.731),(69.342,6.999),(67.459,5.529),(65.377,4.35),(63.147,3.49),(60.814,2.966),(58.431,2.79)])
waveguide_28.add(gdstk.FlexPath([(41.01,4.04),(40.99,4.04)], 0.5, ends="flush", simple_path=True, layer=1, datatype=10))  # PinRec
waveguide_28.add(gdstk.FlexPath([(73.43,33.56),(73.43,33.58)], 0.5, ends="flush", simple_path=True, layer=1, datatype=10))  # PinRec
waveguide_28.add(gdstk.Label('opt1', (41,4.04), layer=1, texttype=10))
waveguide_28.add(gdstk.Label('opt2', (73.43,33.57), layer=1, texttype=10))
waveguide_28.add(gdstk.Label('Lumerical_INTERCONNECT_library=Design kits/EBeam', (41,3.94), layer=68, texttype=0))
waveguide_28.add(gdstk.Label('Component=ebeam_wg_integral_1550', (41,4.14), layer=68, texttype=0))
waveguide_28.add(gdstk.Label('cellName=Waveguide', (41,4.24), layer=68, texttype=0))
waveguide_28.add(gdstk.Label('Spice_param:wg_length=0.000055517 wg_width=5e-07 points="[[41.0,4.04],[73.43,4.04],[73.43,33.57]]" radius=1.5e-05', (41,4.04), layer=68, texttype=0))
waveguide_28.add(gdstk.Label('Length=55.517 (microns)', (41,3.44), layer=68, texttype=0))
waveguide_28.add(gdstk.Label('waveguide_type=Strip TM 1550 nm, w=500 nm', (41,3.84), layer=68, texttype=0))

waveguide_29 = lib.new_cell('Waveguide$29')
R(waveguide_29, Si, [(70.43,48.37,70.93,128.17)])
R(waveguide_29, Waveguide, [(70.43,48.37,70.93,128.17)])
R(waveguide_29, DevRec, [(69.43,48.37,71.93,128.17)])
waveguide_29.add(gdstk.FlexPath([(70.68,128.16),(70.68,128.18)], 0.5, ends="flush", simple_path=True, layer=1, datatype=10))  # PinRec
waveguide_29.add(gdstk.FlexPath([(70.68,48.38),(70.68,48.36)], 0.5, ends="flush", simple_path=True, layer=1, datatype=10))  # PinRec
waveguide_29.add(gdstk.Label('opt1', (70.68,128.17), layer=1, texttype=10))
waveguide_29.add(gdstk.Label('opt2', (70.68,48.37), layer=1, texttype=10))
waveguide_29.add(gdstk.Label('Lumerical_INTERCONNECT_library=Design kits/EBeam', (70.58,128.17), layer=68, texttype=0))
waveguide_29.add(gdstk.Label('Component=ebeam_wg_integral_1550', (70.78,128.17), layer=68, texttype=0))
waveguide_29.add(gdstk.Label('cellName=Waveguide', (70.88,128.17), layer=68, texttype=0))
waveguide_29.add(gdstk.Label('Spice_param:wg_length=0.000079800 wg_width=5e-07 points="[[70.68,128.17],[70.68,48.37]]" radius=1.5e-05', (70.68,128.17), layer=68, texttype=0))
waveguide_29.add(gdstk.Label('Length=79.800 (microns)', (70.08,128.17), layer=68, texttype=0))
waveguide_29.add(gdstk.Label('waveguide_type=Strip TM 1550 nm, w=500 nm', (70.48,128.17), layer=68, texttype=0))

mzitm1 = lib.new_cell('MZITM1')
mzitm1.add(gdstk.Reference(ebeam_gc_tm1550, (41,161.81)))
mzitm1.add(gdstk.Reference(ebeam_gc_tm1550, (41,4.04)))
mzitm1.add(gdstk.Reference(ebeam_y_1550, (73.43,40.97), rotation=pi/2))
mzitm1.add(gdstk.Reference(ebeam_y_1550, (73.43,135.57), rotation=3*pi/2))
mzitm1.add(gdstk.Reference(waveguide_23, (24.35,-187.35)))
mzitm1.add(gdstk.Reference(waveguide_27, (24.35,-187.35)))
mzitm1.add(gdstk.Reference(waveguide_28, (0,0)))
mzitm1.add(gdstk.Reference(waveguide_29, (0,0)))
mzitm1.add(gdstk.Label('opt_in_TM_1550_device_mustafamutlu_MZITM1', (40.999,161.809), layer=10, texttype=0))

lib.write_gds('MZITM1.gds')
